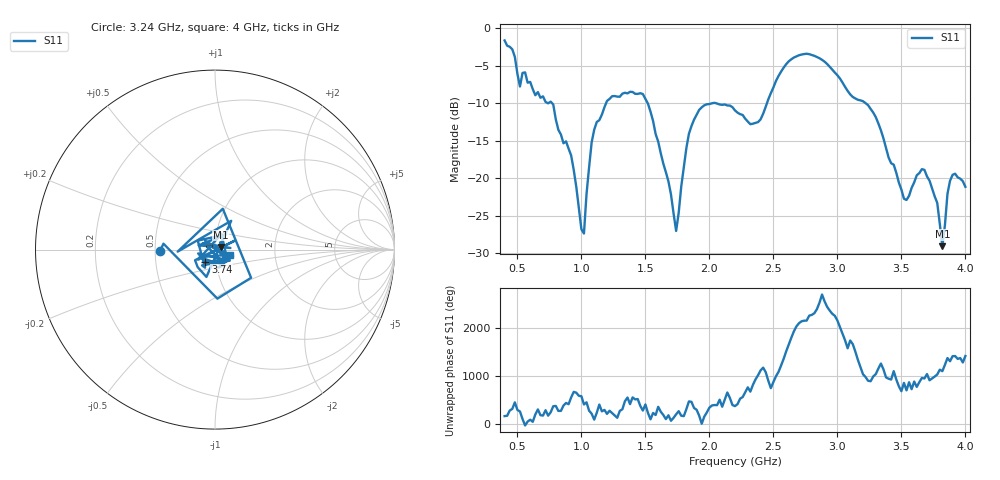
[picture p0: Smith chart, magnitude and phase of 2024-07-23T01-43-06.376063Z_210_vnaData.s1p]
!Created with skrf (http://scikit-rf.org).
# Hz S RI R 50.0
!freq ReS11 ImS11
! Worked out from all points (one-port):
!   181 points, 400 MHz to 4 GHz, reference 50 ohm
!   lowest |S11| = -29.0 dB at 3.82 GHz (marker M1), VSWR 1.07, Z = 53.3 + j1.5 ohm
!   |S11| at or under -10 dB: 770.5 MHz to 1.193 GHz (422.6 MHz wide, 43 % of centre); 1.518 GHz to 2.027 GHz (509.7 MHz wide, 28.8 % of centre); 3.22 GHz to end of sweep (the widest 3 of 5)
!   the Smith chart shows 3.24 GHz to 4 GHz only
!   S11 on the Smith chart (normalised r, x): 3.24 GHz: 0.53, -0.01; 3.74 GHz: 0.89, -0.12; 4 GHz: 1.18, -0.07
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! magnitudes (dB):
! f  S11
! 400 MHz  -1.7
! 520 MHz  -7.8
! 560 MHz  -5.9
! 780 MHz  -10.2
! 860 MHz  -15.3
! 920 MHz  -17.0
! 1.02 GHz  -27.3
! 1.1 GHz  -13.5
! 1.3 GHz  -9.2
! 1.52 GHz  -10.1
! 1.68 GHz  -20.4
! 1.74 GHz  -27.0
! 1.76 GHz  -24.6
! 1.84 GHz  -14.1
! 1.92 GHz  -10.9
! 2.2 GHz  -11.0
! 2.38 GHz  -12.5
! 2.66 GHz  -3.9
! 2.88 GHz  -4.2
! 3.1 GHz  -8.8
! 3.24 GHz  -10.3
! 3.56 GHz  -22.3
! 3.66 GHz  -18.8
! 3.74 GHz  -21.4
! 3.78 GHz  -23.3
! 3.82 GHz  -29.0
! 3.88 GHz  -20.3
! 4 GHz  -21.1
